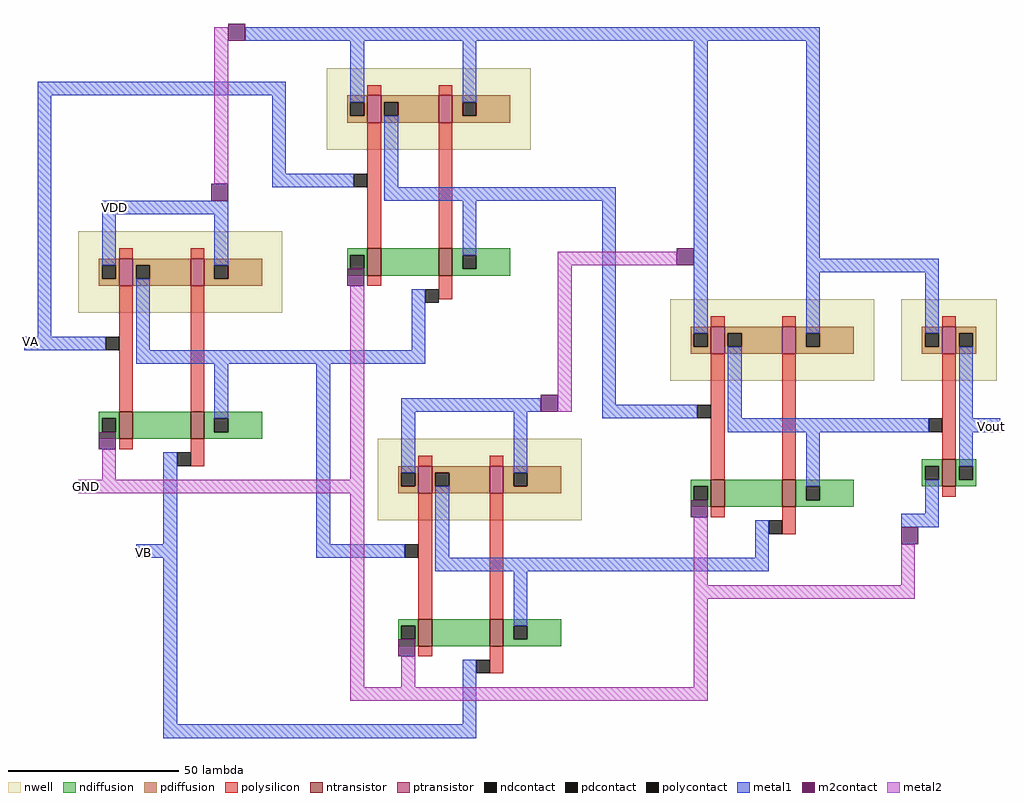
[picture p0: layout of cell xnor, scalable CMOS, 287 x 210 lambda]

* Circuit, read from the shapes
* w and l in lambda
.subckt xnor GND VA VB VDD Vout
M1 n1 VA GND VSUBS nfet w=8 l=4
M2 n2 VB n1 VSUBS nfet w=8 l=4
M3 n3 VA GND VSUBS nfet w=8 l=4
M4 n4 n2 GND VSUBS nfet w=8 l=4
M5 n5 n2 n3 VSUBS nfet w=8 l=4
M6 n6 VB n4 VSUBS nfet w=8 l=4
M7 n7 n5 GND VSUBS nfet w=8 l=4
M8 n8 n6 n7 VSUBS nfet w=8 l=4
M9 Vout n8 GND VSUBS nfet w=8 l=4
M10 n2 VA VDD n9 pfet w=8 l=4
M11 VDD VB n2 n9 pfet w=8 l=4
M12 n5 VA VDD n10 pfet w=8 l=4
M13 n6 n2 VDD n11 pfet w=8 l=4
M14 VDD n2 n5 n10 pfet w=8 l=4
M15 VDD VB n6 n11 pfet w=8 l=4
M16 n8 n5 VDD n12 pfet w=8 l=4
M17 VDD n6 n8 n12 pfet w=8 l=4
M18 Vout n8 VDD n13 pfet w=8 l=4
.ends

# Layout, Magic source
magic
tech scmos
<< nwell >>
rect 323 49 383 73
rect 250 1 310 25
rect 424 -19 484 5
rect 492 -19 520 5
rect 338 -60 398 -36
<< ntransistor >>
rect 335 12 339 20
rect 356 12 360 20
rect 262 -36 266 -28
rect 283 -36 287 -28
rect 436 -56 440 -48
rect 457 -56 461 -48
rect 504 -50 508 -42
rect 350 -97 354 -89
rect 371 -97 375 -89
<< ptransistor >>
rect 335 57 339 65
rect 356 57 360 65
rect 262 9 266 17
rect 283 9 287 17
rect 436 -11 440 -3
rect 457 -11 461 -3
rect 504 -11 508 -3
rect 350 -52 354 -44
rect 371 -52 375 -44
<< ndiffusion >>
rect 329 18 335 20
rect 329 14 330 18
rect 334 14 335 18
rect 329 12 335 14
rect 339 12 356 20
rect 360 18 377 20
rect 360 14 363 18
rect 367 14 377 18
rect 360 12 377 14
rect 256 -30 262 -28
rect 256 -34 257 -30
rect 261 -34 262 -30
rect 256 -36 262 -34
rect 266 -36 283 -28
rect 287 -30 304 -28
rect 287 -34 290 -30
rect 294 -34 304 -30
rect 287 -36 304 -34
rect 498 -44 504 -42
rect 498 -48 499 -44
rect 503 -48 504 -44
rect 430 -50 436 -48
rect 430 -54 431 -50
rect 435 -54 436 -50
rect 430 -56 436 -54
rect 440 -56 457 -48
rect 461 -50 478 -48
rect 498 -50 504 -48
rect 508 -44 514 -42
rect 508 -48 509 -44
rect 513 -48 514 -44
rect 508 -50 514 -48
rect 461 -54 464 -50
rect 468 -54 478 -50
rect 461 -56 478 -54
rect 344 -91 350 -89
rect 344 -95 345 -91
rect 349 -95 350 -91
rect 344 -97 350 -95
rect 354 -97 371 -89
rect 375 -91 392 -89
rect 375 -95 378 -91
rect 382 -95 392 -91
rect 375 -97 392 -95
<< pdiffusion >>
rect 329 63 335 65
rect 329 59 330 63
rect 334 59 335 63
rect 329 57 335 59
rect 339 63 356 65
rect 339 59 340 63
rect 344 59 356 63
rect 339 57 356 59
rect 360 63 377 65
rect 360 59 363 63
rect 367 59 377 63
rect 360 57 377 59
rect 256 15 262 17
rect 256 11 257 15
rect 261 11 262 15
rect 256 9 262 11
rect 266 15 283 17
rect 266 11 267 15
rect 271 11 283 15
rect 266 9 283 11
rect 287 15 304 17
rect 287 11 290 15
rect 294 11 304 15
rect 287 9 304 11
rect 430 -5 436 -3
rect 430 -9 431 -5
rect 435 -9 436 -5
rect 430 -11 436 -9
rect 440 -5 457 -3
rect 440 -9 441 -5
rect 445 -9 457 -5
rect 440 -11 457 -9
rect 461 -5 478 -3
rect 461 -9 464 -5
rect 468 -9 478 -5
rect 461 -11 478 -9
rect 498 -5 504 -3
rect 498 -9 499 -5
rect 503 -9 504 -5
rect 498 -11 504 -9
rect 508 -5 514 -3
rect 508 -9 509 -5
rect 513 -9 514 -5
rect 508 -11 514 -9
rect 344 -46 350 -44
rect 344 -50 345 -46
rect 349 -50 350 -46
rect 344 -52 350 -50
rect 354 -46 371 -44
rect 354 -50 355 -46
rect 359 -50 371 -46
rect 354 -52 371 -50
rect 375 -46 392 -44
rect 375 -50 378 -46
rect 382 -50 392 -46
rect 375 -52 392 -50
<< ndcontact >>
rect 330 14 334 18
rect 363 14 367 18
rect 257 -34 261 -30
rect 290 -34 294 -30
rect 499 -48 503 -44
rect 431 -54 435 -50
rect 509 -48 513 -44
rect 464 -54 468 -50
rect 345 -95 349 -91
rect 378 -95 382 -91
<< pdcontact >>
rect 330 59 334 63
rect 340 59 344 63
rect 363 59 367 63
rect 257 11 261 15
rect 267 11 271 15
rect 290 11 294 15
rect 431 -9 435 -5
rect 441 -9 445 -5
rect 464 -9 468 -5
rect 499 -9 503 -5
rect 509 -9 513 -5
rect 345 -50 349 -46
rect 355 -50 359 -46
rect 378 -50 382 -46
<< polysilicon >>
rect 335 65 339 68
rect 356 65 360 68
rect 335 20 339 57
rect 356 20 360 57
rect 262 17 266 20
rect 283 17 287 20
rect 335 9 339 12
rect 262 -28 266 9
rect 283 -28 287 9
rect 356 5 360 12
rect 436 -3 440 0
rect 457 -3 461 0
rect 504 -3 508 0
rect 262 -39 266 -36
rect 283 -44 287 -36
rect 350 -44 354 -41
rect 371 -44 375 -41
rect 436 -48 440 -11
rect 457 -48 461 -11
rect 504 -42 508 -11
rect 350 -89 354 -52
rect 371 -89 375 -52
rect 504 -53 508 -50
rect 436 -59 440 -56
rect 457 -64 461 -56
rect 350 -100 354 -97
rect 371 -105 375 -97
<< polycontact >>
rect 331 38 335 42
rect 258 -10 262 -6
rect 352 4 356 8
rect 432 -30 436 -26
rect 279 -44 283 -40
rect 500 -34 504 -30
rect 346 -71 350 -67
rect 453 -64 457 -60
rect 367 -105 371 -101
<< metal1 >>
rect 299 81 468 85
rect 238 65 311 69
rect 238 -6 242 65
rect 307 42 311 65
rect 330 63 334 81
rect 363 63 367 81
rect 307 38 331 42
rect 340 38 344 59
rect 340 34 408 38
rect 257 30 294 34
rect 257 15 261 30
rect 290 15 294 30
rect 363 18 367 34
rect 234 -10 258 -6
rect 267 -10 271 11
rect 348 -10 352 8
rect 267 -14 352 -10
rect 290 -30 294 -14
rect 275 -67 279 -40
rect 267 -71 279 -67
rect 320 -67 324 -14
rect 345 -28 386 -24
rect 404 -26 408 34
rect 431 -5 435 81
rect 464 17 468 81
rect 464 13 503 17
rect 464 -5 468 13
rect 499 -5 503 13
rect 345 -46 349 -28
rect 378 -46 382 -28
rect 404 -30 432 -26
rect 441 -30 445 -9
rect 509 -30 513 -9
rect 441 -34 500 -30
rect 509 -34 521 -30
rect 464 -50 468 -34
rect 509 -44 513 -34
rect 320 -71 346 -67
rect 355 -71 359 -50
rect 499 -58 503 -48
rect 449 -71 453 -60
rect 492 -62 503 -58
rect 275 -120 279 -71
rect 355 -75 453 -71
rect 378 -91 382 -75
rect 363 -120 367 -101
rect 275 -124 367 -120
<< m2contact >>
rect 294 81 299 86
rect 289 34 294 39
rect 329 9 334 14
rect 256 -39 261 -34
rect 386 -28 391 -23
rect 426 15 431 20
rect 430 -59 435 -54
rect 492 -67 497 -62
rect 344 -100 349 -95
<< metal2 >>
rect 290 39 294 85
rect 391 15 426 19
rect 257 -48 261 -39
rect 330 -48 334 9
rect 391 -28 395 15
rect 250 -52 334 -48
rect 330 -109 334 -52
rect 431 -79 435 -59
rect 492 -79 496 -67
rect 431 -83 496 -79
rect 345 -109 349 -100
rect 431 -109 435 -83
rect 330 -113 435 -109
<< labels >>
rlabel metal1 268 -70 270 -69 1 VB
rlabel metal1 235 -8 237 -7 3 VA
rlabel metal2 251 -51 254 -49 1 GND
rlabel metal1 258 31 263 33 1 VDD
rlabel metal1 517 -33 520 -32 7 Vout
<< end >>
